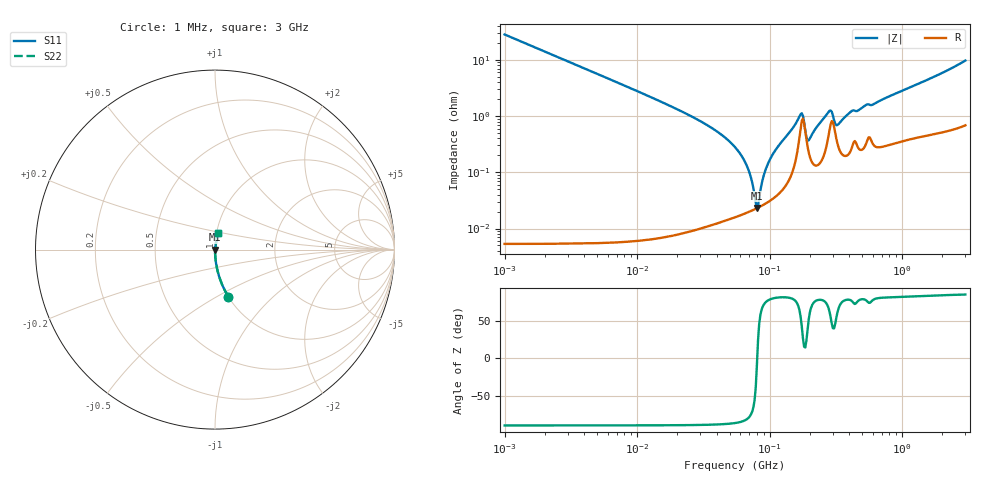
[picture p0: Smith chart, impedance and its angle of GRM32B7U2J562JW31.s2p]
!Murata Part Number: GRM32B7U2J562JW31
!These Parameters are Measured in Series Mode Connection
!Data Generated on Mar 30, 2021
!  o--ll--o
!Port1  Port2
!  o------o
!Operation Temp=25[degC], DC Bias Voltage=0[V]
!Freq. Start=1000[kHz] Stop=3[GHz] 401[Steps]
# Hz S RI R 50
!Freq.(Hz) S11(Real) S11(Imag) S21(Real) S21(Imag) S12(Real) S12(Imag) S22(Real) S22(Imag)
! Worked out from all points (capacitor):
!   401 points, 1 MHz to 3 GHz, reference 50 ohm
!   read as one part in series: C = 5.63 nF near 1.041 MHz
!   lowest |Z| = 23.3 mohm at 80.12 MHz (marker M1)
!   series resonance near 80.54 MHz, so ESL is about 690 pH
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1000000  0.074 -0.2617  0.926 0.2617  0.926 0.2617  0.074 -0.2617
3823119  0.00546 -0.0734  0.9945 0.0734  0.9945 0.0734  0.00546 -0.0734
1.461624e7  0.000417 -0.0187  0.9996 0.0187  0.9996 0.0187  0.000417 -0.0187
3.456417e7  0.000155 -0.00668  0.9998 0.00668  0.9998 0.00668  0.000155 -0.00668
5.477226e7  0.000166 -0.0028  0.9998 0.0028  0.9998 0.0028  0.000166 -0.0028
6.826239e7  0.000195 -0.00119  0.9998 0.00119  0.9998 0.00119  0.000195 -0.00119
7.248696e7  0.000206 -0.000757  0.9998 0.000757  0.9998 0.000757  0.000206 -0.000757
7.852918e7  0.000224 -0.000182  0.9998 0.000182  0.9998 0.000182  0.000224 -0.000182
8.011685e7  0.00023 -3.76e-05  0.9998 3.76e-05  0.9998 3.76e-05  0.00023 -3.76e-05
8.338914e7  0.000241 0.000253  0.9998 -0.000253  0.9998 -0.000253  0.000241 0.000253
9.216659e7  0.000275 0.000993  0.9997 -0.000993  0.9997 -0.000993  0.000275 0.000993
9.984923e7  0.00031 0.00161  0.9997 -0.00161  0.9997 -0.00161  0.00031 0.00161
1.680187e8  0.00431 0.00888  0.9957 -0.00888  0.9957 -0.00888  0.00431 0.00888
1.784169e8  0.00895 0.0045  0.991 -0.0045  0.991 -0.0045  0.00895 0.0045
1.93289e8  0.00285 0.0023  0.9972 -0.0023  0.9972 -0.0023  0.00285 0.0023
2.011837e8  0.00189 0.00351  0.9981 -0.00351  0.9981 -0.00351  0.00189 0.00351
2.094008e8  0.00151 0.00454  0.9985 -0.00454  0.9985 -0.00454  0.00151 0.00454
2.827291e8  0.00564 0.0109  0.9944 -0.0109  0.9944 -0.0109  0.00564 0.0109
3.252521e8  0.00324 0.00611  0.9968 -0.00611  0.9968 -0.00611  0.00324 0.00611
4.135554e8  0.00271 0.0118  0.9973 -0.0118  0.9973 -0.0118  0.00271 0.0118
8.005644e8  0.00355 0.0221  0.9965 -0.0221  0.9965 -0.0221  0.00355 0.0221
3e9  0.0159 0.0947  0.9841 -0.0947  0.9841 -0.0947  0.0159 0.0947
